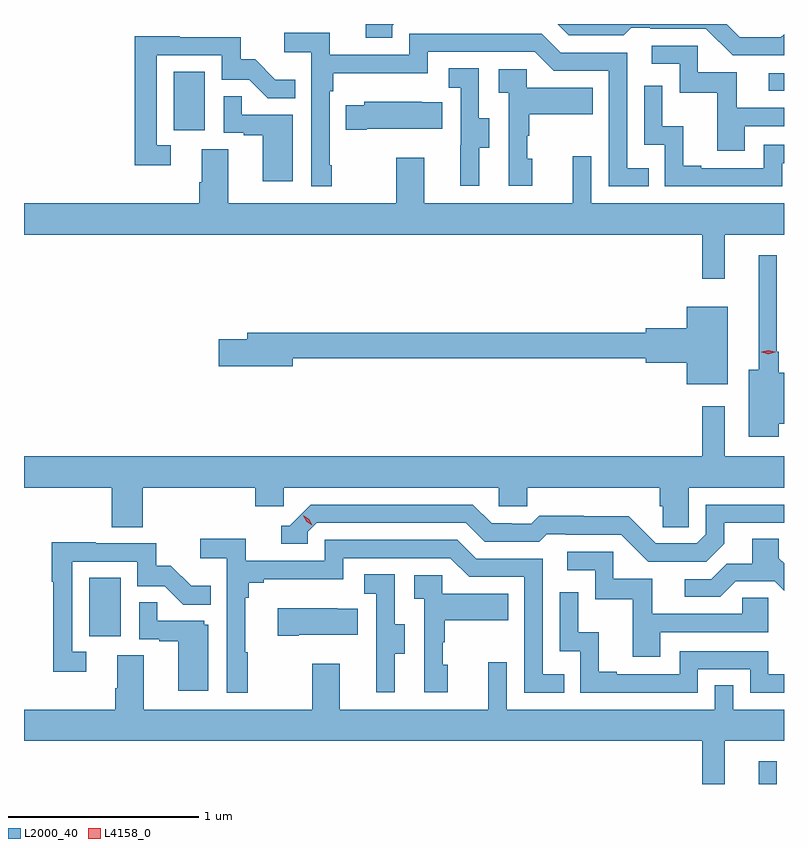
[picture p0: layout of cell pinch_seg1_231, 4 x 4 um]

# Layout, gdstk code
import gdstk
lib = gdstk.Library(unit=1e-6, precision=1e-09)
def R(c, l, rs):  # rectangles x0, y0, x1, y1
    for r in rs: c.add(gdstk.rectangle(r[:2], r[2:], *l))
def P(c, l, *ps):  # polygons
    for p in ps: c.add(gdstk.Polygon(p, *l))
L2000_40 = (2000, 40)
L4158_0 = (4158, 0)

pinch_seg1_231 = lib.new_cell('pinch_seg1_231')
R(pinch_seg1_231, L2000_40, [(907.436,579.476,907.533,579.595), (903.914,580.254,904.078,580.561), (904.358,582.918,904.522,583.225), (907.491,583.125,907.57,583.218)])
P(pinch_seg1_231, L2000_40, [(907.57,583.423),(907.554,583.407),(907.338,583.407),(907.269,583.476),(906.378,583.476),(906.438,583.416),(906.727,583.416),(906.766,583.455),(906.865,583.455),(906.865,583.452),(907.158,583.452),(907.299,583.311),(907.57,583.311)],
  [(905.508,583.467),(905.517,583.476),(905.369,583.476),(905.369,583.404),(905.508,583.404)],
  [(905.191,582.733),(905.178,582.733),(905.178,583.121),(905.198,583.121),(905.198,583.217),(905.694,583.217),(905.694,583.329),(906.258,583.329),(906.357,583.23),(906.648,583.23),(906.648,582.621),(906.857,582.621),(906.857,582.717),(906.744,582.717),(906.744,583.326),(906.394,583.326),(906.295,583.425),(905.598,583.425),(905.598,583.314),(905.18,583.314),(905.18,583.43),(904.941,583.43),(904.941,583.328),(905.082,583.328),(905.082,582.621),(905.191,582.621)],
  [(904.342,582.837),(904.269,582.837),(904.269,583.311),(904.611,583.311),(904.611,583.182),(904.755,583.182),(904.853,583.084),(904.997,583.084),(904.997,583.183),(904.893,583.183),(904.786,583.29),(904.71,583.29),(904.71,583.407),(904.391,583.407),(904.391,583.412),(904.153,583.412),(904.153,582.732),(904.342,582.732)],
  [(907.363,582.939),(907.57,582.939),(907.57,583.035),(907.321,583.035),(907.321,583.221),(907.116,583.221),(907.116,583.362),(906.873,583.362),(906.873,583.266),(907.02,583.266),(907.02,583.113),(907.219,583.113),(907.219,582.81),(907.363,582.81)],
  [(905.965,582.826),(906.019,582.826),(906.019,582.981),(905.964,582.981),(905.964,583.244),(905.805,583.244),(905.805,583.141),(905.868,583.141),(905.868,582.837),(905.867,582.837),(905.867,582.624),(905.965,582.624)],
  [(906.244,582.768),(906.219,582.768),(906.219,582.887),(906.229,582.887),(906.229,583.001),(906.563,583.001),(906.563,583.141),(906.216,583.141),(906.216,583.239),(906.069,583.239),(906.069,583.115),(906.12,583.115),(906.12,582.624),(906.244,582.624)],
  [(907.56,582.744),(907.57,582.744),(907.57,582.84),(907.464,582.84),(907.464,582.717),(907.135,582.717),(907.135,582.73),(907.04,582.73),(907.04,582.938),(906.93,582.938),(906.93,583.15),(906.834,583.15),(906.834,582.84),(906.942,582.84),(906.942,582.621),(907.56,582.621)],
  [(904.984,582.999),(904.715,582.999),(904.715,583.097),(904.62,583.097),(904.62,582.903),(904.727,582.903),(904.727,582.891),(904.826,582.891),(904.826,582.648),(904.984,582.648)],
  [(905.374,582.926),(905.771,582.926),(905.771,583.063),(905.663,583.063),(905.663,583.066),(905.361,583.066),(905.361,583.048),(905.263,583.048),(905.263,582.919),(905.374,582.919)],
  [(907.259,582.368),(907.57,582.368),(907.57,582.532),(906.555,582.532),(906.555,582.781),(906.458,582.781),(906.458,582.532),(905.677,582.532),(905.677,582.772),(905.53,582.772),(905.53,582.532),(904.645,582.532),(904.645,582.818),(904.505,582.818),(904.505,582.644),(904.493,582.644),(904.493,582.532),(903.57,582.532),(903.57,582.368),(907.141,582.368),(907.141,582.135),(907.259,582.135)],
  [(907.543,581.372),(907.57,581.372),(907.57,581.641),(907.543,581.641),(907.543,581.752),(907.533,581.752),(907.533,582.259),(907.436,582.259),(907.436,581.656),(907.385,581.656),(907.385,581.304),(907.543,581.304)],
  [(907.273,581.989),(907.058,581.989),(907.058,581.876),(906.842,581.876),(906.842,581.852),(904.745,581.852),(904.745,581.816),(904.596,581.816),(904.596,581.674),(904.984,581.674),(904.984,581.716),(906.842,581.716),(906.842,581.693),(907.058,581.693),(907.058,581.579),(907.273,581.579)],
  [(904.196,581.036),(904.787,581.036),(904.787,580.938),(904.938,580.938),(904.938,581.036),(906.069,581.036),(906.069,580.938),(906.219,580.938),(906.219,581.036),(906.917,581.036),(906.917,580.938),(906.931,580.938),(906.931,580.828),(907.068,580.828),(907.068,581.036),(907.57,581.036),(907.57,581.2),(907.257,581.2),(907.257,581.464),(907.141,581.464),(907.141,581.2),(903.57,581.2),(903.57,581.036),(904.031,581.036),(904.031,580.828),(904.196,580.828)],
  [(907.255,580.741),(907.255,580.851),(907.57,580.851),(907.57,580.947),(907.158,580.947),(907.158,580.791),(907.11,580.743),(906.894,580.743),(906.752,580.885),(906.516,580.885),(906.516,580.888),(906.283,580.888),(906.241,580.845),(906.138,580.845),(906.138,580.848),(906.031,580.848),(905.932,580.947),(905.079,580.947),(904.968,580.836),(904.925,580.836),(904.925,580.74),(905.064,580.74),(905.064,580.803),(905.112,580.851),(905.895,580.851),(905.994,580.752),(906.283,580.752),(906.322,580.791),(906.421,580.791),(906.421,580.788),(906.714,580.788),(906.855,580.647),(907.161,580.647)],
  [(907.315,580.542),(907.521,580.542),(907.57,580.493),(907.57,580.637),(907.543,580.664),(907.543,580.766),(907.403,580.766),(907.403,580.634),(907.268,580.634),(907.188,580.554),(907.047,580.554),(907.047,580.461),(907.234,580.461)],
  [(904.747,580.169),(904.735,580.169),(904.735,580.457),(904.754,580.457),(904.754,580.534),(904.831,580.534),(904.831,580.553),(905.25,580.553),(905.25,580.665),(905.814,580.665),(905.913,580.566),(906.204,580.566),(906.204,579.957),(906.413,579.957),(906.413,580.053),(906.3,580.053),(906.3,580.662),(905.95,580.662),(905.851,580.761),(905.154,580.761),(905.154,580.65),(904.736,580.65),(904.736,580.766),(904.497,580.766),(904.497,580.664),(904.638,580.664),(904.638,579.957),(904.747,579.957)],
  [(903.898,580.173),(903.825,580.173),(903.825,580.647),(904.167,580.647),(904.167,580.518),(904.311,580.518),(904.409,580.42),(904.553,580.42),(904.553,580.519),(904.449,580.519),(904.342,580.626),(904.266,580.626),(904.266,580.743),(903.947,580.743),(903.947,580.748),(903.717,580.748),(903.717,580.54),(903.724,580.54),(903.724,580.068),(903.898,580.068)],
  [(906.919,580.275),(907.488,580.275),(907.488,580.455),(907.351,580.455),(907.351,580.371),(906.877,580.371),(906.877,580.557),(906.672,580.557),(906.672,580.698),(906.429,580.698),(906.429,580.602),(906.576,580.602),(906.576,580.449),(906.775,580.449),(906.775,580.146),(906.919,580.146)],
  [(905.521,580.162),(905.575,580.162),(905.575,580.317),(905.52,580.317),(905.52,580.58),(905.361,580.58),(905.361,580.477),(905.424,580.477),(905.424,580.173),(905.423,580.173),(905.423,579.96),(905.521,579.96)],
  [(905.8,580.104),(905.775,580.104),(905.775,580.223),(905.785,580.223),(905.785,580.337),(906.119,580.337),(906.119,580.477),(905.772,580.477),(905.772,580.575),(905.625,580.575),(905.625,580.451),(905.676,580.451),(905.676,579.96),(905.8,579.96)],
  [(907.116,580.08),(907.392,580.08),(907.392,579.957),(907.57,579.957),(907.57,580.053),(907.488,580.053),(907.488,580.176),(907.02,580.176),(907.02,580.053),(906.691,580.053),(906.691,580.066),(906.596,580.066),(906.596,580.274),(906.486,580.274),(906.486,580.486),(906.39,580.486),(906.39,580.176),(906.498,580.176),(906.498,579.957),(907.116,579.957)],
  [(904.54,580.314),(904.518,580.314),(904.518,580.335),(904.271,580.335),(904.271,580.433),(904.176,580.433),(904.176,580.239),(904.283,580.239),(904.283,580.227),(904.382,580.227),(904.382,579.966),(904.54,579.966)],
  [(905.017,580.262),(905.327,580.262),(905.327,580.399),(905.219,580.399),(905.219,580.402),(904.905,580.402),(904.905,580.255),(905.017,580.255)],
  [(907.259,579.704),(907.57,579.704),(907.57,579.868),(907.302,579.868),(907.302,579.995),(907.206,579.995),(907.206,579.868),(906.111,579.868),(906.111,580.117),(906.014,580.117),(906.014,579.868),(905.233,579.868),(905.233,580.108),(905.086,580.108),(905.086,579.868),(904.201,579.868),(904.201,580.154),(904.061,580.154),(904.061,579.98),(904.049,579.98),(904.049,579.868),(903.57,579.868),(903.57,579.704),(907.141,579.704),(907.141,579.476),(907.259,579.476)])
P(pinch_seg1_231, L4158_0, [(905.088,580.837),(905.057,580.857),(905.041,580.889),(905.041,580.89),(905.041,580.89),(905.072,580.87),(905.088,580.837),(905.088,580.837)],
  [(907.488,581.739),(907.452,581.749),(907.451,581.749),(907.452,581.75),(907.488,581.759),(907.524,581.75),(907.524,581.749),(907.524,581.749)])

lib.write_gds('pinch_seg1_231.gds')
